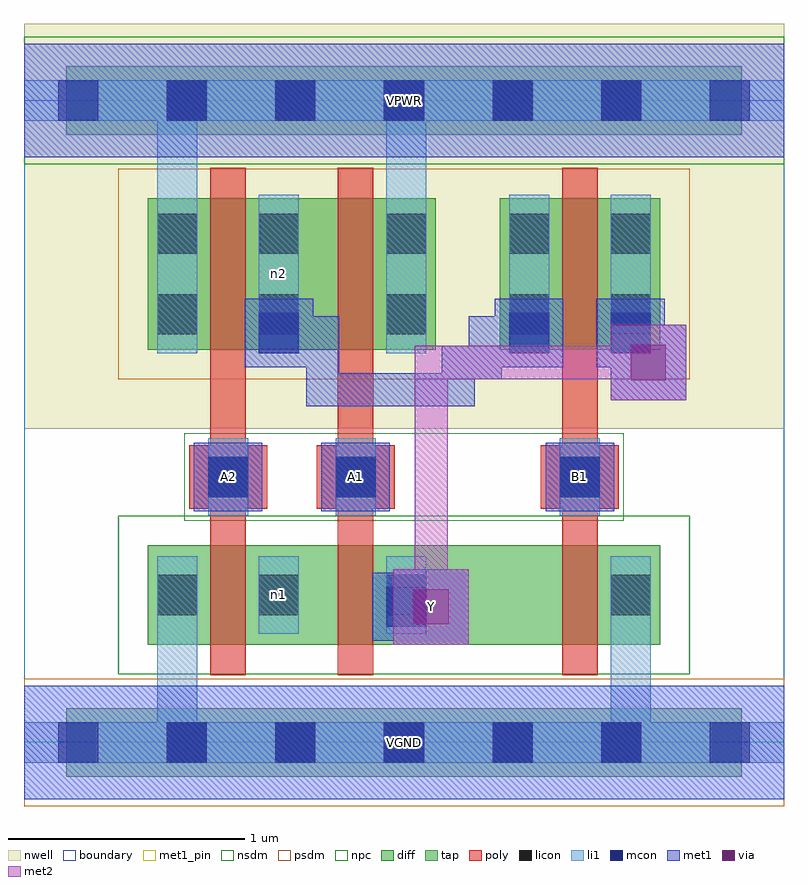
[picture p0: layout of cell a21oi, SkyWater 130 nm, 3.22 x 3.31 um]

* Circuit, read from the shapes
.subckt a21oi A1 A2 B1 VGND VPWR Y n1 n2
XM1 n1 A2 VGND VGND sky130_fd_pr__nfet_01v8 w=0.42 l=0.15
XM2 Y A1 n1 VGND sky130_fd_pr__nfet_01v8 w=0.42 l=0.15
XM3 VGND B1 Y VGND sky130_fd_pr__nfet_01v8 w=0.42 l=0.15
XM4 n2 A2 VPWR VPWR sky130_fd_pr__pfet_01v8 w=0.64 l=0.15
XM5 VPWR A1 n2 VPWR sky130_fd_pr__pfet_01v8 w=0.64 l=0.15
XM6 Y B1 n2 VPWR sky130_fd_pr__pfet_01v8 w=0.64 l=0.15
.ends

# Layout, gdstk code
import gdstk
lib = gdstk.Library(unit=1e-6, precision=1e-09)
def R(c, l, rs):  # rectangles x0, y0, x1, y1
    for r in rs: c.add(gdstk.rectangle(r[:2], r[2:], *l))
def A(c, l, x, y, w, h, nx, ny, dx, dy):  # array of equal rectangles
    R(c, l, [(x+i*dx, y+j*dy, x+i*dx+w, y+j*dy+h) for i in range(nx) for j in range(ny)])
nwell = (64, 20)
diff = (65, 20)
tap = (65, 44)
poly = (66, 20)
licon = (66, 44)
li1 = (67, 20)
mcon = (67, 44)
met1_pin = (68, 16)
met1 = (68, 20)
via = (68, 44)
met2 = (69, 20)
nsdm = (93, 44)
psdm = (94, 20)
npc = (95, 20)
boundary = (235, 4)

a21oi = lib.new_cell('a21oi')
R(a21oi, nwell, [(0,1.33,3.22,3.045)])
R(a21oi, diff, [(0.525,0.415,2.695,0.835), (0.525,1.665,1.745,2.305), (2.015,1.665,2.695,2.305)])
R(a21oi, tap, [(0.18,-0.145,3.04,0.145), (0.18,2.575,3.04,2.865)])
R(a21oi, poly, [(0.79,0.285,0.94,2.435), (1.33,0.285,1.48,2.435), (2.28,0.285,2.43,2.435), (0.7,0.99,1.03,1.26), (1.24,0.99,1.57,1.26), (2.19,0.99,2.52,1.26)])
A(a21oi, licon, 0.605, -0.085, 0.17, 0.17, 5, 2, 0.46, 2.72)
R(a21oi, licon, [(0.565,0.54,0.735,0.71), (0.995,0.54,1.165,0.71), (1.535,0.54,1.705,0.71), (2.485,0.54,2.655,0.71), (0.78,1.04,0.95,1.21), (1.32,1.04,1.49,1.21), (2.27,1.04,2.44,1.21), (0.565,1.73,0.735,1.9), (0.995,1.73,1.165,1.9), (1.535,1.73,1.705,1.9), (2.055,1.73,2.225,1.9), (2.485,1.73,2.655,1.9), (0.565,2.07,0.735,2.24), (0.995,2.07,1.165,2.24), (1.535,2.07,1.705,2.24), (2.055,2.07,2.225,2.24), (2.485,2.07,2.655,2.24)])
R(a21oi, li1, [(0,-0.085,3.22,0.085), (0.565,-0.085,0.735,0.79), (2.485,-0.085,2.655,0.79), (0.565,0.46,0.735,0.79), (0.995,0.46,1.165,0.79), (1.535,0.46,1.705,0.79), (2.485,0.46,2.655,0.79), (0.78,0.96,0.95,1.29), (1.32,0.96,1.49,1.29), (2.27,0.96,2.44,1.29), (0.565,1.65,0.735,2.32), (0.565,1.65,0.735,2.805), (0.995,1.65,1.165,2.32), (1.535,1.65,1.705,2.32), (1.535,1.65,1.705,2.805), (2.055,1.65,2.225,2.32), (2.485,1.65,2.655,2.32), (0,2.635,3.22,2.805)])
A(a21oi, mcon, 0.145, -0.085, 0.17, 0.17, 7, 2, 0.46, 2.72)
R(a21oi, mcon, [(1.535,0.49,1.705,0.66), (0.78,1.04,0.95,1.21), (1.32,1.04,1.49,1.21), (2.27,1.04,2.44,1.21), (0.995,1.65,1.165,1.82), (2.055,1.65,2.225,1.82), (2.485,1.65,2.655,1.82)])
R(a21oi, met1_pin, [(0,-0.24,3.22,0.24), (1.565,0.415,1.885,0.735), (0.72,0.98,1.01,1.27), (1.26,0.98,1.55,1.27), (2.21,0.98,2.5,1.27), (0,2.48,3.22,2.96)])
A(a21oi, met1, 1.195, 1.54, 0.14, 0.265, 3, 1, 0.69, 0)
R(a21oi, met1, [(0,-0.24,3.22,0.24), (1.565,0.415,1.885,0.735), (1.475,0.43,1.765,0.72), (1.55,0.505,1.795,0.645), (0.72,0.98,1.01,1.27), (1.26,0.98,1.55,1.27), (2.21,0.98,2.5,1.27), (1.195,1.425,1.335,1.68), (1.195,1.425,1.91,1.565), (1.77,1.425,1.91,1.68), (2.485,1.45,2.805,1.77), (1.77,1.54,2.025,1.68), (0.935,1.59,1.225,1.88), (1.995,1.59,2.285,1.88), (2.425,1.59,2.715,1.88), (1.01,1.665,1.335,1.805), (1.885,1.665,2.21,1.805), (2.5,1.665,2.715,1.805), (0,2.48,3.22,2.96)])
R(a21oi, via, [(1.65,0.5,1.8,0.65), (2.57,1.535,2.72,1.685)])
R(a21oi, met2, [(1.565,0.415,1.885,0.735), (1.655,0.505,1.795,1.68), (2.485,1.45,2.805,1.77), (1.655,1.54,2.715,1.68)])
R(a21oi, nsdm, [(0.4,0.29,2.82,0.96), (0,2.45,3.22,2.99)])
R(a21oi, psdm, [(0,-0.27,3.22,0.27), (0.4,1.54,2.82,2.43)])
R(a21oi, npc, [(0.68,0.94,2.54,1.31)])
R(a21oi, boundary, [(0,0,3.22,2.72)])
a21oi.add(gdstk.Label('n1', (1.08,0.625), layer=67, texttype=5))
a21oi.add(gdstk.Label('n2', (1.08,1.985), layer=67, texttype=5))
a21oi.add(gdstk.Label('A1', (1.405,1.125), layer=68, texttype=5))
a21oi.add(gdstk.Label('A2', (0.865,1.125), layer=68, texttype=5))
a21oi.add(gdstk.Label('B1', (2.355,1.125), layer=68, texttype=5))
a21oi.add(gdstk.Label('Y', (1.725,0.575), layer=68, texttype=5))
a21oi.add(gdstk.Label('VPWR', (1.61,2.72), layer=68, texttype=5))
a21oi.add(gdstk.Label('VGND', (1.61,0), layer=68, texttype=5))
a21oi.add(gdstk.Label('A1', (1.405,1.125), layer=68, texttype=16))
a21oi.add(gdstk.Label('A2', (0.865,1.125), layer=68, texttype=16))
a21oi.add(gdstk.Label('B1', (2.355,1.125), layer=68, texttype=16))
a21oi.add(gdstk.Label('Y', (1.725,0.575), layer=68, texttype=16))
a21oi.add(gdstk.Label('VPWR', (1.61,2.72), layer=68, texttype=16))
a21oi.add(gdstk.Label('VGND', (1.61,0), layer=68, texttype=16))

lib.write_gds('a21oi.gds')
